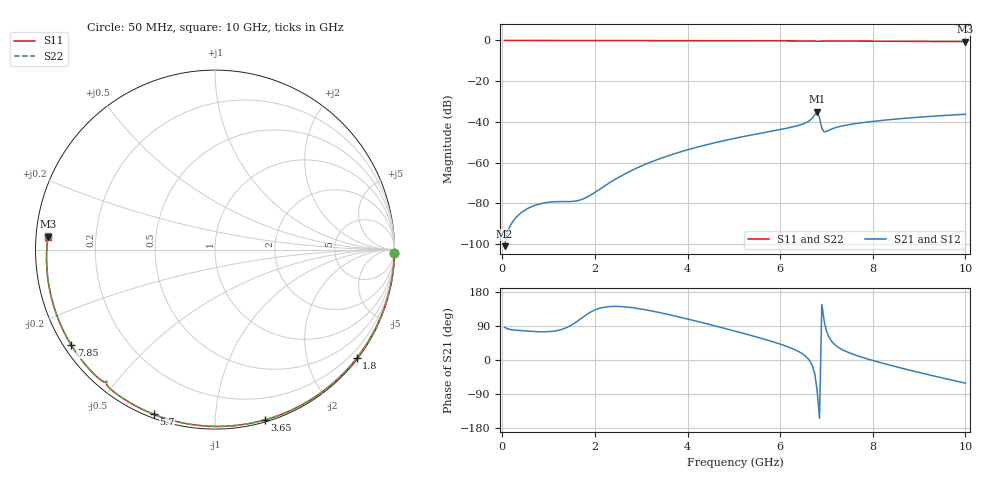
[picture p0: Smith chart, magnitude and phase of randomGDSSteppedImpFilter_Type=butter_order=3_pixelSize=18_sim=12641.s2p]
! freq	dB(S11)	phase(S11)	dB(S12)	phase(S12)
!  dB(S21)	phase(S21)	dB(S22)	phase(S22)
!S-par simulation data
#  GHz  S  DB  R 50
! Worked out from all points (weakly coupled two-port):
!   200 points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, 50 MHz to 10 GHz, reference 50 ohm
!   highest |S21| = -35.02 dB at 6.8 GHz (marker M1); lowest = -101.1 dB at 50 MHz (marker M2)
!   lowest |S11| = -0.6 dB at 10 GHz (marker M3), VSWR 29.25, Z = 1.71 + j1.91 ohm
!   |S11| at or under -10 dB: nowhere
!   |S22| runs from -0.6 to 0.0 dB; largest |S21 - S12| = 0
!   S11 on the Smith chart (normalised r, x): 50 MHz: open; 1.8 GHz: 0.03, -2.94; 3.65 GHz: 0.02, -1.33; 5.7 GHz: 0.02, -0.70; 7.85 GHz: 0.02, -0.30; 10 GHz: 0.03, +0.04
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0.05  -0.00 -1.1  -101.09 86.1  -101.09 86.1  -0.00 -1.1
0.85  -0.02 -18.0  -80.08 74.5  -80.08 74.5  -0.02 -18.0
1.55  -0.04 -32.4  -79.02 96.4  -79.02 96.4  -0.04 -32.5
1.75  -0.05 -36.5  -77.84 114.0  -77.84 114.0  -0.05 -36.5
1.8  -0.05 -37.5  -77.33 118.3  -77.33 118.3  -0.05 -37.6
2.65  -0.07 -54.5  -65.56 140.3  -65.56 140.3  -0.07 -54.5
3.4  -0.09 -69.0  -58.11 125.0  -58.11 125.0  -0.09 -69.0
3.65  -0.10 -73.7  -56.16 118.3  -56.16 118.3  -0.10 -73.7
5.05  -0.15 -99.1  -47.95 75.5  -47.95 75.5  -0.15 -99.1
5.7  -0.18 -110.4  -45.06 53.4  -45.06 53.4  -0.18 -110.4
6.45  -0.23 -123.2  -41.38 18.8  -41.38 18.8  -0.23 -123.3
6.6  -0.25 -125.9  -39.93 3.9  -39.93 3.9  -0.25 -125.9
6.7  -0.27 -127.8  -38.07 -16.6  -38.07 -16.6  -0.27 -127.8
6.8  -0.43 -129.5  -35.02 -82.6  -35.02 -82.6  -0.43 -129.6
6.85  -0.43 -129.3  -38.10 -153.5  -38.10 -153.5  -0.43 -129.3
6.9  -0.34 -130.0  -43.18 146.7  -43.18 146.7  -0.34 -130.1
6.95  -0.30 -131.0  -44.90 103.0  -44.90 103.0  -0.30 -131.0
7.3  -0.30 -137.1  -42.21 30.1  -42.21 30.1  -0.30 -137.2
7.85  -0.34 -146.4  -40.18 4.0  -40.18 4.0  -0.34 -146.5
8.35  -0.39 -154.9  -38.95 -13.0  -38.95 -13.0  -0.39 -155.0
9.2  -0.49 -169.7  -37.37 -38.7  -37.37 -38.7  -0.49 -169.8
10  -0.59 175.6  -36.27 -61.1  -36.27 -61.1  -0.59 175.5
